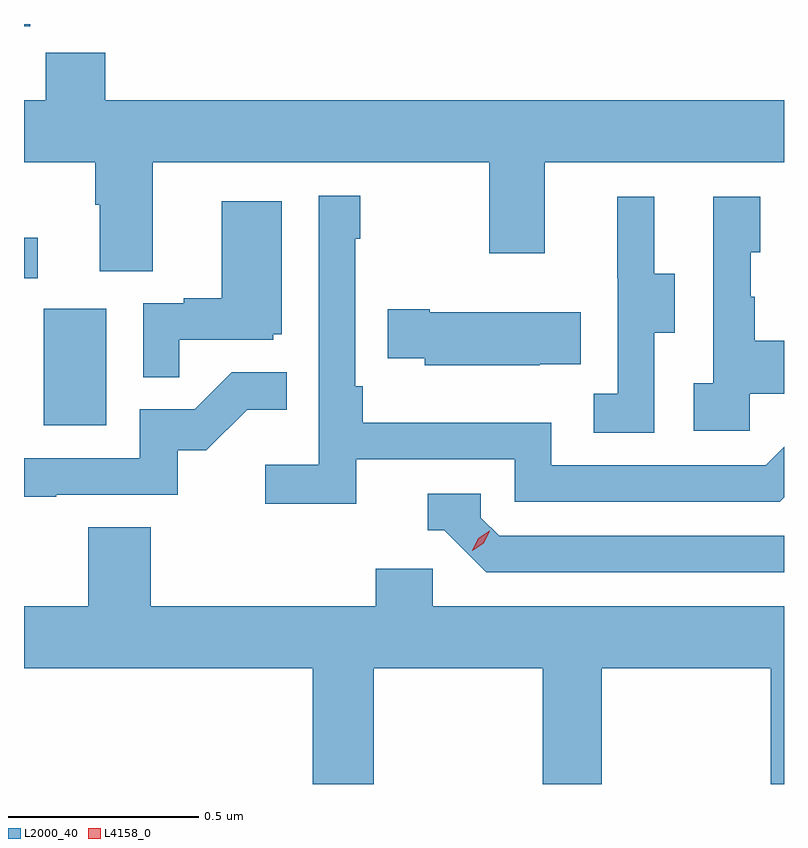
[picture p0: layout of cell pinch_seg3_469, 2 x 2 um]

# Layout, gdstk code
import gdstk
lib = gdstk.Library(unit=1e-6, precision=1e-09)
def R(c, l, rs):  # rectangles x0, y0, x1, y1
    for r in rs: c.add(gdstk.rectangle(r[:2], r[2:], *l))
def P(c, l, *ps):  # polygons
    for p in ps: c.add(gdstk.Polygon(p, *l))
L2000_40 = (2000, 40)
L4158_0 = (4158, 0)

pinch_seg3_469 = lib.new_cell('pinch_seg3_469')
R(pinch_seg3_469, L2000_40, [(890.372,685.572,890.536,685.879), (890.32,685.959,890.356,686.065), (890.32,686.622,890.336,686.628)])
P(pinch_seg3_469, L2000_40, [(890.659,686.264),(891.544,686.264),(891.544,686.025),(891.691,686.025),(891.691,686.264),(892.32,686.264),(892.32,686.428),(890.534,686.428),(890.534,686.552),(890.377,686.552),(890.377,686.428),(890.32,686.428),(890.32,686.264),(890.507,686.264),(890.507,686.152),(890.519,686.152),(890.519,685.978),(890.659,685.978)],
  [(891.194,685.482),(891.612,685.482),(891.612,685.371),(892.309,685.371),(892.32,685.382),(892.32,685.515),(892.272,685.467),(891.708,685.467),(891.708,685.579),(891.212,685.579),(891.212,685.675),(891.192,685.675),(891.192,686.063),(891.205,686.063),(891.205,686.176),(891.096,686.176),(891.096,685.468),(890.955,685.468),(890.955,685.366),(891.194,685.366)],
  [(891.978,685.816),(892.033,685.816),(892.033,685.971),(891.979,685.971),(891.979,686.173),(891.881,686.173),(891.881,685.959),(891.882,685.959),(891.882,685.655),(891.819,685.655),(891.819,685.552),(891.978,685.552)],
  [(892.23,685.655),(892.32,685.655),(892.32,685.795),(892.243,685.795),(892.243,685.91),(892.233,685.91),(892.233,686.028),(892.258,686.028),(892.258,686.173),(892.134,686.173),(892.134,685.682),(892.083,685.682),(892.083,685.557),(892.23,685.557)],
  [(890.729,685.797),(890.976,685.797),(890.976,685.812),(890.998,685.812),(890.998,686.161),(890.84,686.161),(890.84,685.906),(890.741,685.906),(890.741,685.893),(890.634,685.893),(890.634,685.699),(890.729,685.699)],
  [(891.677,685.733),(891.785,685.733),(891.785,685.87),(891.388,685.87),(891.388,685.878),(891.277,685.878),(891.277,685.748),(891.375,685.748),(891.375,685.73),(891.677,685.73)],
  [(890.405,685.389),(890.724,685.389),(890.724,685.506),(890.8,685.506),(890.907,685.613),(891.011,685.613),(891.011,685.712),(890.867,685.712),(890.769,685.614),(890.625,685.614),(890.625,685.485),(890.32,685.485),(890.32,685.384),(890.405,685.384)],
  [(892.32,685.281),(891.57,685.281),(891.522,685.329),(891.522,685.392),(891.383,685.392),(891.383,685.296),(891.426,685.296),(891.537,685.185),(892.32,685.185)],
  [(891.396,685.194),(891.245,685.194),(891.245,685.096),(890.654,685.096),(890.654,685.304),(890.489,685.304),(890.489,685.096),(890.32,685.096),(890.32,684.932),(891.08,684.932),(891.08,684.628),(891.24,684.628),(891.24,684.932),(891.685,684.932),(891.685,684.628),(891.84,684.628),(891.84,684.932),(892.285,684.932),(892.285,684.628),(892.32,684.628),(892.32,685.096),(891.396,685.096)])
P(pinch_seg3_469, L4158_0, [(891.499,685.242),(891.499,685.242),(891.515,685.275),(891.546,685.295),(891.546,685.295),(891.546,685.295),(891.53,685.262),(891.5,685.242)])

lib.write_gds('pinch_seg3_469.gds')
